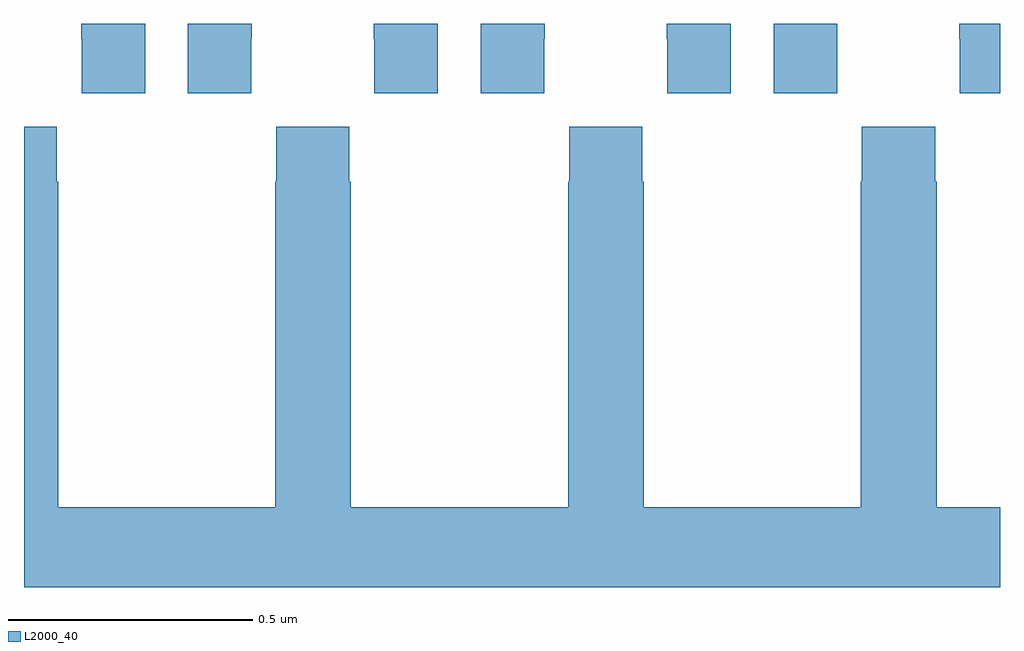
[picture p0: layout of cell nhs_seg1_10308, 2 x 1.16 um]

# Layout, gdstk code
import gdstk
lib = gdstk.Library(unit=1e-6, precision=1e-09)
def P(c, l, *ps):  # polygons
    for p in ps: c.add(gdstk.Polygon(p, *l))
L2000_40 = (2000, 40)

nhs_seg1_10308 = lib.new_cell('nhs_seg1_10308')
P(nhs_seg1_10308, L2000_40, [(239.248,574.199),(239.117,574.199),(239.117,574.168),(239.118,574.168),(239.118,574.056),(239.248,574.056)],
  [(239.466,574.168),(239.467,574.168),(239.467,574.199),(239.336,574.199),(239.336,574.056),(239.466,574.056)],
  [(239.848,574.199),(239.717,574.199),(239.717,574.168),(239.718,574.168),(239.718,574.056),(239.848,574.056)],
  [(240.066,574.168),(240.067,574.168),(240.067,574.199),(239.936,574.199),(239.936,574.056),(240.066,574.056)],
  [(240.448,574.199),(240.317,574.199),(240.317,574.168),(240.318,574.168),(240.318,574.056),(240.448,574.056)],
  [(240.666,574.168),(240.667,574.168),(240.667,574.199),(240.536,574.199),(240.536,574.056),(240.666,574.056)],
  [(241,574.199),(240.917,574.199),(240.917,574.168),(240.918,574.168),(240.918,574.056),(241,574.056)],
  [(239,573.988),(239,573.044),(241,573.044),(241,573.208),(240.87,573.208),(240.87,573.875),(240.867,573.875),(240.867,573.988),(240.717,573.988),(240.717,573.875),(240.715,573.875),(240.715,573.208),(240.27,573.208),(240.27,573.875),(240.267,573.875),(240.267,573.988),(240.117,573.988),(240.117,573.875),(240.115,573.875),(240.115,573.208),(239.67,573.208),(239.67,573.875),(239.667,573.875),(239.667,573.988),(239.517,573.988),(239.517,573.875),(239.515,573.875),(239.515,573.208),(239.07,573.208),(239.07,573.875),(239.067,573.875),(239.067,573.988)])

lib.write_gds('nhs_seg1_10308.gds')
